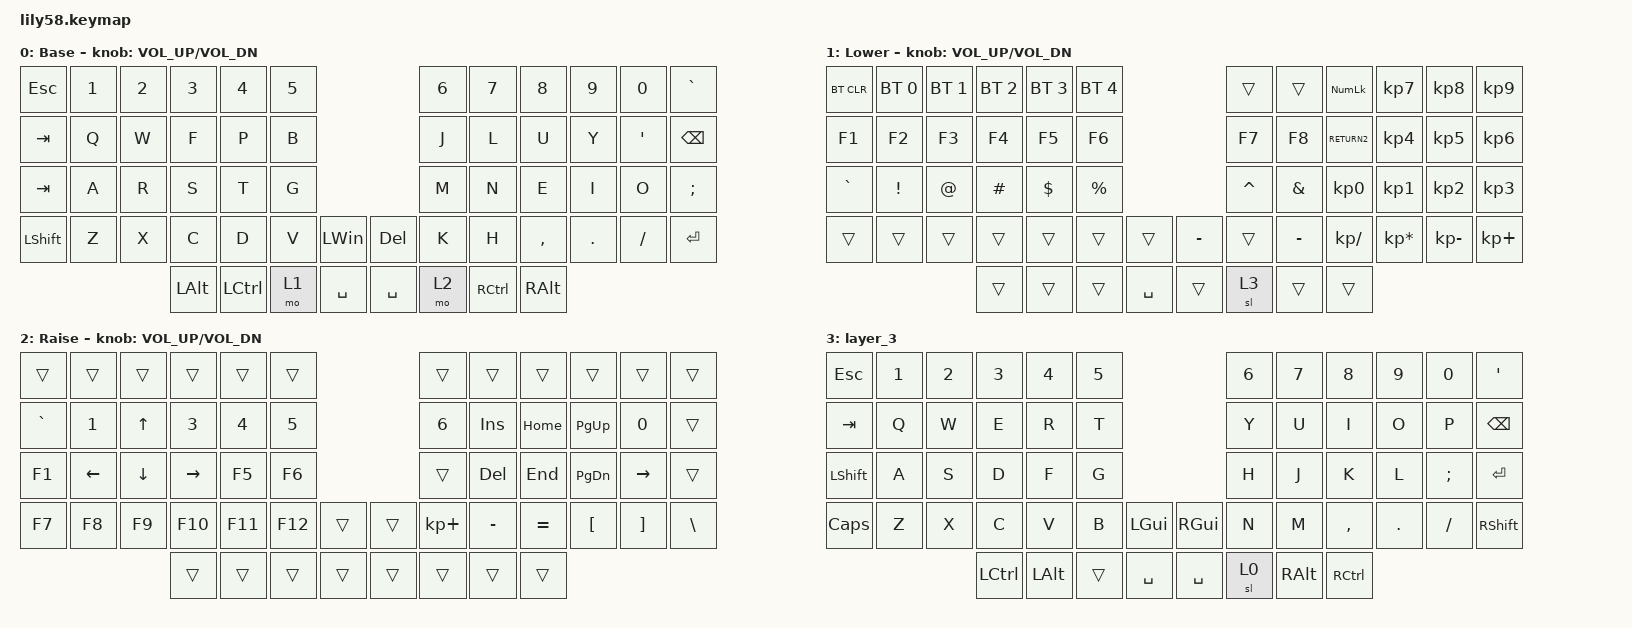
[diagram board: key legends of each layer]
/*
 * Copyright (c) 2020 The ZMK Contributors
 *
 * SPDX-License-Identifier: MIT
 */

#include <behaviors.dtsi>
#include <dt-bindings/zmk/bt.h>
#include <dt-bindings/zmk/keys.h>

/ {
    keymap {
        compatible = "zmk,keymap";

        default_layer {
            // ------------------------------------------------------------------------------------------------------------
            // |  ESC  |  1  |  2  |  3   |  4   |  5   |                   |  6   |  7    |  8    |  9   |   0   |   `   |
            // |  TAB  |  Q  |  W  |  E   |  R   |  T   |                   |  Y   |  U    |  I    |  O   |   P   |   -   |
            // |  CTRL |  A  |  S  |  D   |  F   |  G   |                   |  H   |  J    |  K    |  L   |   ;   |   '   |
            // | SHIFT |  Z  |  X  |  C   |  V   |  B   |   "["  |  |  "]"  |  N   |  M    |  ,    |  .   |   /   | SHIFT |
            //                     | ALT  | GUI  | LOWER|  SPACE |  | ENTER | RAISE| BSPC  | GUI   |

            display-name = "Base";
            bindings = <
&kp ESC    &kp N1  &kp N2  &kp N3    &kp N4            &kp N5                              &kp N6  &kp N7             &kp N8         &kp N9   &kp N0          &kp GRAVE
&kp TAB    &kp Q   &kp W   &kp F     &kp P             &kp B                               &kp J   &kp L              &kp U          &kp Y    &kp APOSTROPHE  &kp BACKSPACE
&kp TAB    &kp A   &kp R   &kp S     &kp T             &kp G                               &kp M   &kp N              &kp E          &kp I    &kp O           &kp SEMICOLON
&kp LSHFT  &kp Z   &kp X   &kp C     &kp D             &kp V   &kp LEFT_WIN    &kp DELETE  &kp K   &kp H              &kp COMMA      &kp DOT  &kp FSLH        &kp ENTER
                           &kp LALT  &kp LEFT_CONTROL  &mo 1   &kp SPACE       &kp SPACE   &mo 2   &kp RIGHT_CONTROL  &kp RIGHT_ALT
            >;

            sensor-bindings = <&inc_dec_kp C_VOL_UP C_VOL_DN>;
        };

        lower_layer {
            // ------------------------------------------------------------------------------------------------------------
            // | BTCLR | BT1 | BT2 |  BT3 |  BT4 |  BT5 |                   |      |       |       |      |       |       |
            // |  F1   |  F2 |  F3 |  F4  |  F5  |  F6  |                   |  F7  |  F8   |  F9   |  F10 |  F11  |  F12  |
            // |   `   |  !  |  @  |  #   |  $   |  %   |                   |  ^   |  &    |  *    |  (   |   )   |   ~   |
            // |       |     |     |      |      |      |        |  |       |      |  _    |  +    |  {   |   }   |  "|"  |
            //                     |      |      |      |        |  |       |      |       |       |

            display-name = "Lower";
            bindings = <
&bt BT_CLR  &bt BT_SEL 0  &bt BT_SEL 1  &bt BT_SEL 2  &bt BT_SEL 3  &bt BT_SEL 4                          &trans     &trans     &kp KP_NUMLOCK   &kp KP_NUMBER_7  &kp KP_NUMBER_8  &kp KP_NUMBER_9
&kp F1      &kp F2        &kp F3        &kp F4        &kp F5        &kp F6                                &kp F7     &kp F8     &kp RETURN2      &kp KP_NUMBER_4  &kp KP_NUMBER_5  &kp KP_NUMBER_6
&kp GRAVE   &kp EXCL      &kp AT        &kp HASH      &kp DOLLAR    &kp PRCNT                             &kp CARET  &kp AMPS   &kp KP_NUMBER_0  &kp KP_NUMBER_1  &kp KP_NUMBER_2  &kp KP_NUMBER_3
&trans      &trans        &trans        &trans        &trans        &trans        &trans       &kp MINUS  &trans     &kp MINUS  &kp KP_DIVIDE    &kp KP_MULTIPLY  &kp KP_SUBTRACT  &kp KP_PLUS
                                        &trans        &trans        &trans        &kp SPACE    &trans     &sl 3      &trans     &trans
            >;

            sensor-bindings = <&inc_dec_kp C_VOL_UP C_VOL_DN>;
        };

        raise_layer {
            // ------------------------------------------------------------------------------------------------------------
            // |       |     |     |      |      |      |                   |      |       |       |      |       |       |
            // |   `   |  1  |  2  |  3   |  4   |  5   |                   |  6   |   7   |   8   |  9   |   0   |       |
            // |   F1  |  F2 |  F3 |  F4  |  F5  |  F6  |                   |      |   <-  |   v   |  ^   |  ->   |       |
            // |   F7  |  F8 |  F9 |  F10 |  F11 |  F12 |        |  |       |  +   |   -   |   =   |  [   |   ]   |   \   |
            //                     |      |      |      |        |  |       |      |       |       |

            display-name = "Raise";
            bindings = <
&trans     &trans    &trans        &trans     &trans   &trans                     &trans       &trans      &trans     &trans         &trans     &trans
&kp GRAVE  &kp N1    &kp UP_ARROW  &kp N3     &kp N4   &kp N5                     &kp N6       &kp INS     &kp HOME   &kp PAGE_UP    &kp N0     &trans
&kp F1     &kp LEFT  &kp DOWN      &kp RIGHT  &kp F5   &kp F6                     &trans       &kp DELETE  &kp END    &kp PAGE_DOWN  &kp RIGHT  &trans
&kp F7     &kp F8    &kp F9        &kp F10    &kp F11  &kp F12  &trans    &trans  &kp KP_PLUS  &kp MINUS   &kp EQUAL  &kp LBKT       &kp RBKT   &kp BSLH
                                   &trans     &trans   &trans   &trans    &trans  &trans       &trans      &trans
            >;

            sensor-bindings = <&inc_dec_kp C_VOL_UP C_VOL_DN>;
        };

        layer_3 {
            bindings = <
&kp ESC    &kp N1  &kp N2  &kp N3     &kp N4    &kp N5                          &kp N6  &kp N7    &kp N8     &kp N9   &kp N0    &kp APOS
&kp TAB    &kp Q   &kp W   &kp E      &kp R     &kp T                           &kp Y   &kp U     &kp I      &kp O    &kp P     &kp BSPC
&kp LSHFT  &kp A   &kp S   &kp D      &kp F     &kp G                           &kp H   &kp J     &kp K      &kp L    &kp SEMI  &kp ENTER
&kp CAPS   &kp Z   &kp X   &kp C      &kp V     &kp B   &kp LGUI     &kp RGUI   &kp N   &kp M     &kp COMMA  &kp DOT  &kp FSLH  &kp RSHFT
                           &kp LCTRL  &kp LALT  &trans  &kp SPACE    &kp SPACE  &sl 0   &kp RALT  &kp RCTRL
            >;
        };
    };
};
